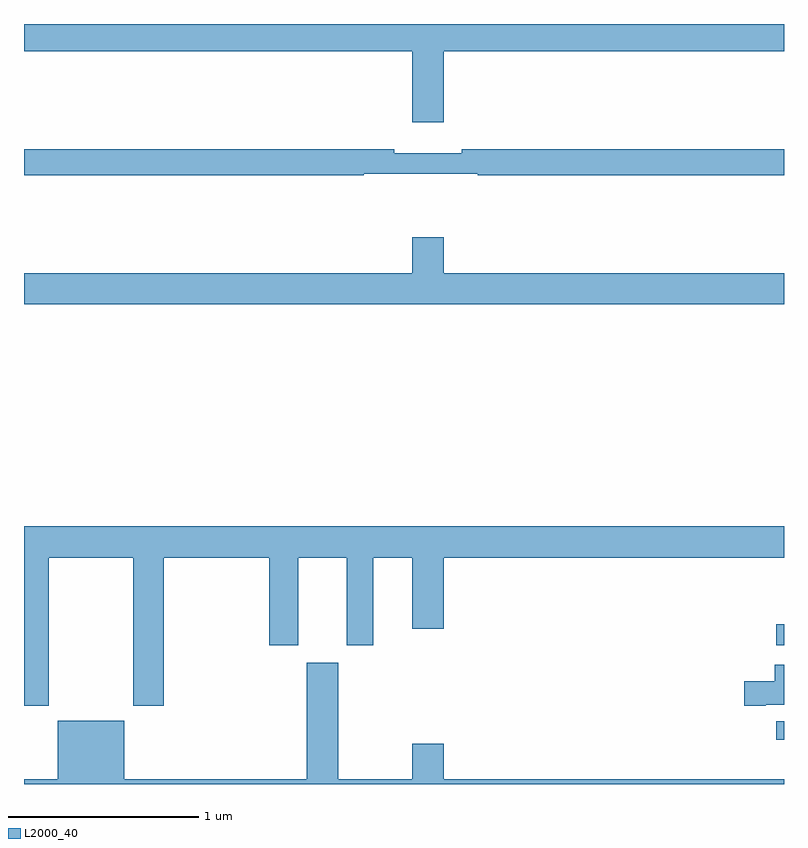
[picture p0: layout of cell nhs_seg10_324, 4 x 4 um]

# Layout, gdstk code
import gdstk
lib = gdstk.Library(unit=1e-6, precision=1e-09)
def R(c, l, rs):  # rectangles x0, y0, x1, y1
    for r in rs: c.add(gdstk.rectangle(r[:2], r[2:], *l))
def P(c, l, *ps):  # polygons
    for p in ps: c.add(gdstk.Polygon(p, *l))
L2000_40 = (2000, 40)

nhs_seg10_324 = lib.new_cell('nhs_seg10_324')
R(nhs_seg10_324, L2000_40, [(130.959,1256.733,131,1256.829), (130.959,1257.231,131,1257.34)])
P(nhs_seg10_324, L2000_40, [(129.208,1260.356),(131,1260.356),(131,1260.5),(127,1260.5),(127,1260.356),(129.044,1260.356),(129.044,1259.982),(129.208,1259.982)],
  [(128.788,1259.712),(129.388,1259.712),(129.388,1259.704),(131,1259.704),(131,1259.84),(129.304,1259.84),(129.304,1259.821),(128.948,1259.821),(128.948,1259.84),(127,1259.84),(127,1259.704),(128.788,1259.704)],
  [(131,1259.188),(129.208,1259.188),(129.208,1259.377),(129.044,1259.377),(129.044,1259.188),(127,1259.188),(127,1259.024),(131,1259.024)],
  [(127.131,1257.692),(127.576,1257.692),(127.576,1256.913),(127.736,1256.913),(127.736,1257.692),(128.291,1257.692),(128.291,1257.231),(128.443,1257.231),(128.443,1257.692),(128.699,1257.692),(128.699,1257.231),(128.839,1257.231),(128.839,1257.692),(129.044,1257.692),(129.044,1257.318),(129.208,1257.318),(129.208,1257.692),(131,1257.692),(131,1257.856),(127,1257.856),(127,1256.913),(127.131,1256.913)],
  [(131,1256.524),(129.208,1256.524),(129.208,1256.713),(129.044,1256.713),(129.044,1256.524),(128.653,1256.524),(128.653,1257.139),(128.489,1257.139),(128.489,1256.524),(127.528,1256.524),(127.528,1256.833),(127.178,1256.833),(127.178,1256.524),(127,1256.524),(127,1256.5),(131,1256.5)],
  [(130.903,1256.918),(131,1256.918),(131,1257.127),(130.952,1257.127),(130.952,1257.04),(130.791,1257.04),(130.791,1256.911),(130.903,1256.911)])

lib.write_gds('nhs_seg10_324.gds')
